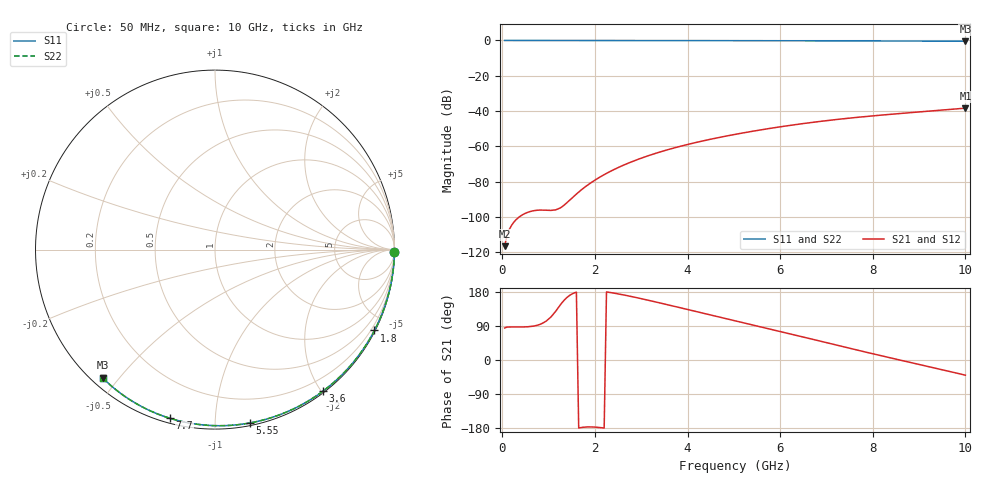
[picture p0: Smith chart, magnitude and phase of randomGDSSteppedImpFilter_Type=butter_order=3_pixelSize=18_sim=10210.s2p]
! freq	dB(S11)	phase(S11)	dB(S12)	phase(S12)
!  dB(S21)	phase(S21)	dB(S22)	phase(S22)
!S-par simulation data
#  GHz  S  DB  R 50
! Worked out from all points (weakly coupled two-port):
!   200 points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, 50 MHz to 10 GHz, reference 50 ohm
!   highest |S21| = -38.35 dB at 10 GHz (marker M1); lowest = -116.5 dB at 50 MHz (marker M2)
!   lowest |S11| = -0.4 dB at 10 GHz (marker M3), VSWR 39.19, Z = 1.54 - j22.6 ohm
!   |S11| at or under -10 dB: nowhere
!   |S22| runs from -0.4 to 0.0 dB; largest |S21 - S12| = 0
!   S11 on the Smith chart (normalised r, x): 50 MHz: open; 1.8 GHz: 0.04, -4.18; 3.6 GHz: 0.02, -2.02; 5.55 GHz: 0.02, -1.22; 7.7 GHz: 0.02, -0.77; 10 GHz: 0.03, -0.45
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0.05  -0.00 -0.8  -116.52 84.5  -116.52 84.5  -0.00 -0.8
0.45  -0.01 -6.8  -98.53 87.1  -98.53 87.1  -0.01 -6.8
0.9  -0.02 -13.6  -96.11 99.1  -96.11 99.1  -0.02 -13.6
1.75  -0.03 -26.2  -83.74 -177.3  -83.74 -177.3  -0.03 -26.2
1.8  -0.03 -26.9  -82.74 -176.8  -82.74 -176.8  -0.03 -26.9
1.95  -0.04 -29.1  -79.97 -176.7  -79.97 -176.7  -0.04 -29.1
2.1  -0.04 -31.3  -77.51 -178.1  -77.51 -178.1  -0.04 -31.3
2.25  -0.04 -33.5  -75.28 179.6  -75.28 179.6  -0.04 -33.5
2.55  -0.05 -37.8  -71.41 173.4  -71.41 173.4  -0.05 -37.8
2.95  -0.06 -43.5  -67.15 163.2  -67.15 163.2  -0.06 -43.5
3.4  -0.07 -49.8  -63.21 150.7  -63.21 150.7  -0.07 -49.8
3.6  -0.07 -52.6  -61.67 144.9  -61.67 144.9  -0.07 -52.6
3.9  -0.08 -56.7  -59.57 136.2  -59.57 136.2  -0.08 -56.7
4.3  -0.09 -62.2  -57.08 124.6  -57.08 124.6  -0.09 -62.2
5.05  -0.11 -72.1  -53.08 103.0  -53.08 103.0  -0.11 -72.1
5.55  -0.13 -78.6  -50.79 88.5  -50.79 88.5  -0.13 -78.6
6.1  -0.15 -85.5  -48.53 72.4  -48.53 72.4  -0.15 -85.5
6.7  -0.18 -92.9  -46.38 54.7  -46.38 54.7  -0.18 -92.9
7.7  -0.24 -104.9  -43.46 25.1  -43.46 25.1  -0.24 -104.9
8.35  -0.29 -112.5  -41.90 6.5  -41.90 6.5  -0.29 -112.5
9.15  -0.36 -121.7  -40.17 -15.8  -40.17 -15.8  -0.36 -121.7
10  -0.44 -131.3  -38.35 -40.1  -38.35 -40.1  -0.44 -131.3
